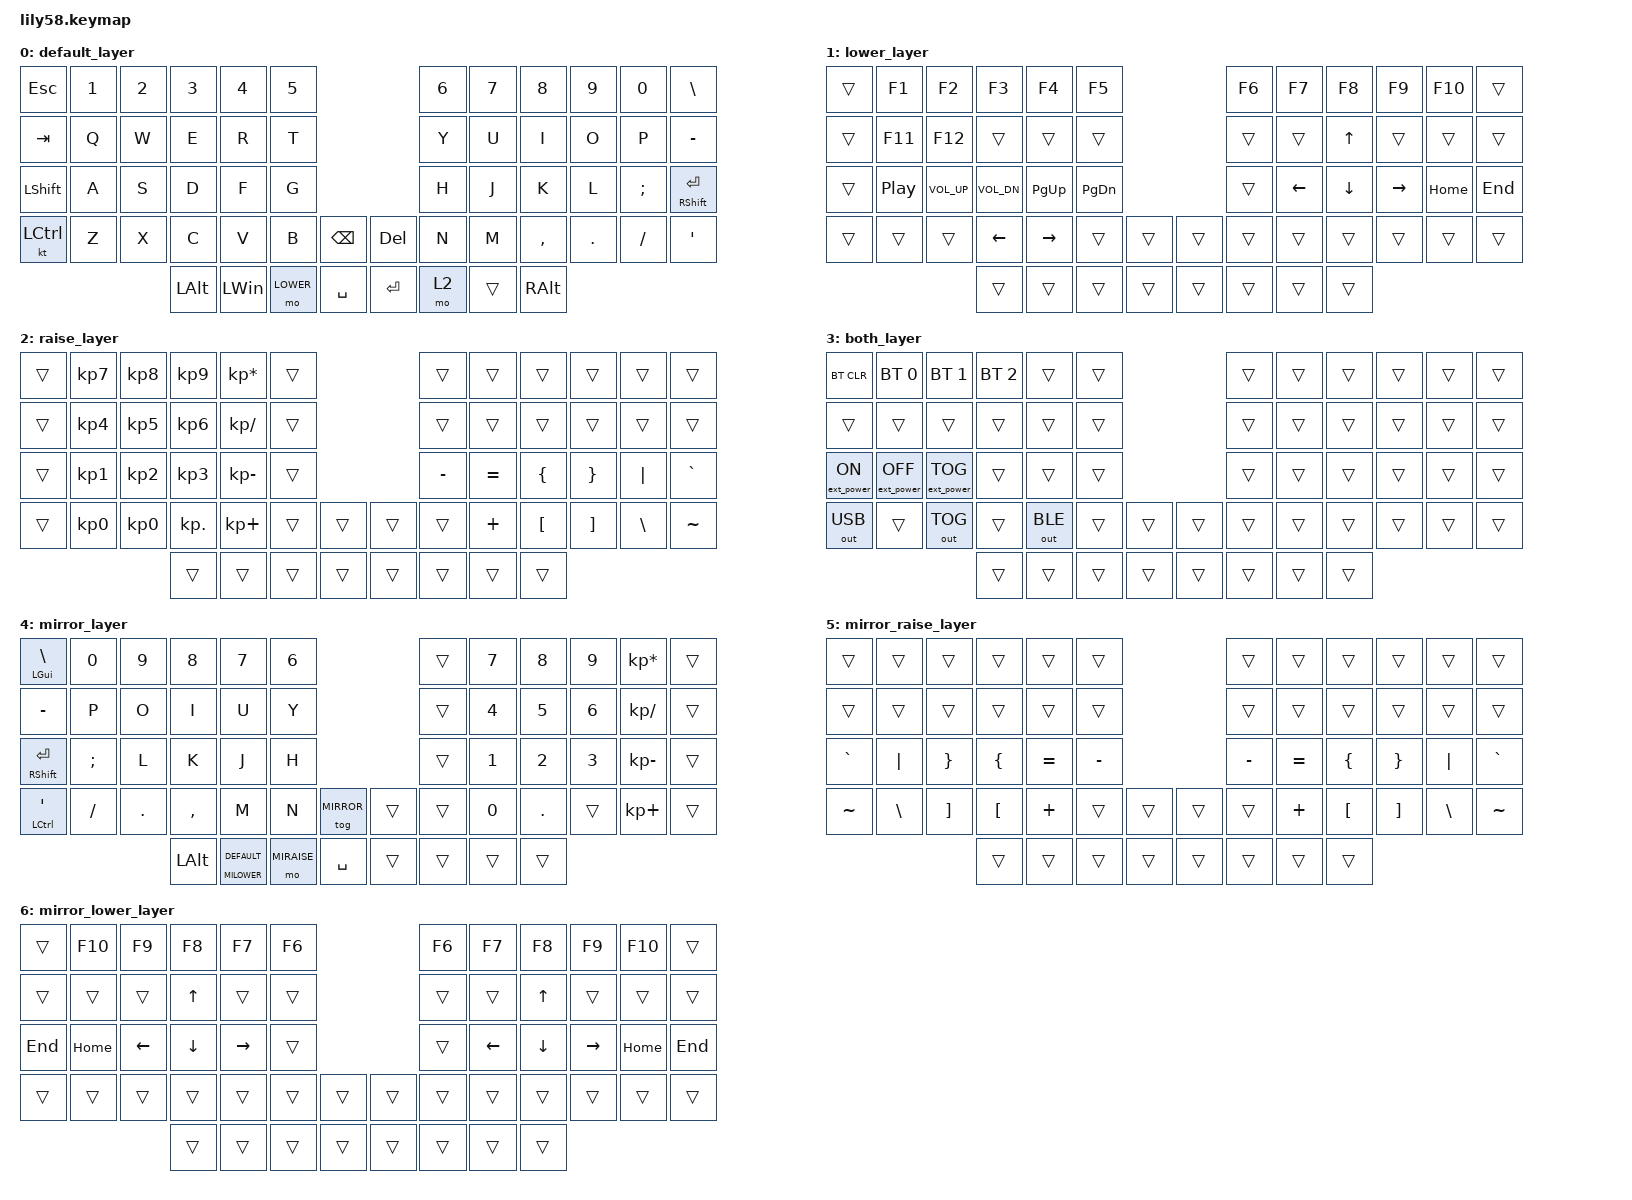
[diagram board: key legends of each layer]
/*
 * Copyright (c) 2020 The ZMK Contributors
 *
 * SPDX-License-Identifier: MIT
 */

#include <behaviors.dtsi>
#include <dt-bindings/zmk/bt.h>
#include <dt-bindings/zmk/ext_power.h>
#include <dt-bindings/zmk/keys.h>
#include <dt-bindings/zmk/keys.h>
#include <dt-bindings/zmk/outputs.h>

#define DEFAULT  0
#define LOWER    1
#define RAISE    2
#define BOTH     3
#define MIRROR   4
#define MIRAISE   5
#define MILOWER   6

#define MO_TO(layer) &mo_to layer layer   // Macro to apply momentary-layer-on-hold/to-layer-on-tap to a specific layer

/ {
    conditional_layers {
        compatible = "zmk,conditional-layers";

        tri_layer {
            if-layers = <1 2>;
            then-layer = <3>;
        };
    };
};

&mt { tapping-term-ms = <130>; };

/ {
    behaviors {
        mo_to: behavior_mo_to {
            compatible = "zmk,behavior-hold-tap";
            label = "mo_to";
            #binding-cells = <2>;
            flavor = "hold-preferred";
            tapping-term-ms = <200>;
            bindings = <&mo>, <&to>;
        };
    };

    keymap {
        compatible = "zmk,keymap";

        default_layer {
            bindings = <
&kp ESCAPE        &kp N1  &kp N2  &kp N3    &kp N4        &kp N5                                  &kp N6  &kp N7  &kp N8     &kp N9   &kp N0    &kp BSLH
&kp TAB           &kp Q   &kp W   &kp E     &kp R         &kp T                                   &kp Y   &kp U   &kp I      &kp O    &kp P     &kp MINUS
&kp LEFT_SHIFT    &kp A   &kp S   &kp D     &kp F         &kp G                                   &kp H   &kp J   &kp K      &kp L    &kp SEMI  &mt RSHIFT ENTER
&kt LEFT_CONTROL  &kp Z   &kp X   &kp C     &kp V         &kp B      &kp BACKSPACE    &kp DELETE  &kp N   &kp M   &kp COMMA  &kp DOT  &kp FSLH  &kp SQT
                                  &kp LALT  &kp LEFT_WIN  &mo LOWER  &kp SPACE        &kp ENTER   &mo 2   &trans  &kp RALT
            >;
        };

        lower_layer {
            bindings = <
&trans  &kp F1    &kp F2        &kp F3        &kp F4     &kp F5                       &kp F6  &kp F7    &kp F8    &kp F9     &kp F10   &trans
&trans  &kp F11   &kp F12       &trans        &trans     &trans                       &trans  &trans    &kp UP    &trans     &trans    &trans
&trans  &kp C_PP  &kp C_VOL_UP  &kp C_VOL_DN  &kp PG_UP  &kp PG_DN                    &trans  &kp LEFT  &kp DOWN  &kp RIGHT  &kp HOME  &kp END
&trans  &trans    &trans        &kp LEFT      &kp RIGHT  &trans     &trans    &trans  &trans  &trans    &trans    &trans     &trans    &trans
                                &trans        &trans     &trans     &trans    &trans  &trans  &trans    &trans
            >;
        };

        raise_layer {
            bindings = <
&trans  &kp KP_N7  &kp KP_N8  &kp KP_N9   &kp KP_ASTERISK  &trans                    &trans     &trans     &trans            &trans             &trans    &trans
&trans  &kp KP_N4  &kp KP_N5  &kp KP_N6   &kp KP_SLASH     &trans                    &trans     &trans     &trans            &trans             &trans    &trans
&trans  &kp KP_N1  &kp KP_N2  &kp KP_N3   &kp KP_MINUS     &trans                    &kp MINUS  &kp EQUAL  &kp LEFT_BRACE    &kp RIGHT_BRACE    &kp PIPE  &kp GRAVE
&trans  &kp KP_N0  &kp KP_N0  &kp KP_DOT  &kp KP_PLUS      &trans  &trans    &trans  &trans     &kp PLUS   &kp LEFT_BRACKET  &kp RIGHT_BRACKET  &kp BSLH  &kp TILDE
                              &trans      &trans           &trans  &trans    &trans  &trans     &trans     &trans
            >;
        };

        both_layer {
            bindings = <
&bt BT_CLR        &bt BT_SEL 0       &bt BT_SEL 1       &bt BT_SEL 2  &trans        &trans                    &trans  &trans  &trans  &trans  &trans  &trans
&trans            &trans             &trans             &trans        &trans        &trans                    &trans  &trans  &trans  &trans  &trans  &trans
&ext_power EP_ON  &ext_power EP_OFF  &ext_power EP_TOG  &trans        &trans        &trans                    &trans  &trans  &trans  &trans  &trans  &trans
&out OUT_USB      &trans             &out OUT_TOG       &trans        &out OUT_BLE  &trans  &trans    &trans  &trans  &trans  &trans  &trans  &trans  &trans
                                                        &trans        &trans        &trans  &trans    &trans  &trans  &trans  &trans
            >;
        };

        mirror_layer {
            bindings = <
&mt LGUI BSLH     &kp N0    &kp N9   &kp N8     &kp N7                  &kp N6                              &trans  &kp N7  &kp N8   &kp N9  &kp KP_ASTERISK  &trans
&kp MINUS         &kp P     &kp O    &kp I      &kp U                   &kp Y                               &trans  &kp N4  &kp N5   &kp N6  &kp KP_SLASH     &trans
&mt RSHIFT ENTER  &kp SEMI  &kp L    &kp K      &kp J                   &kp H                               &trans  &kp N1  &kp N2   &kp N3  &kp KP_MINUS     &trans
&mt LCTRL SQT     &kp FSLH  &kp DOT  &kp COMMA  &kp M                   &kp N        &tog MIRROR    &trans  &trans  &kp N0  &kp DOT  &trans  &kp KP_PLUS      &trans
                                     &kp LALT   &mo_to MILOWER DEFAULT  &mo MIRAISE  &kp SPACE      &trans  &trans  &trans  &trans
            >;
        };

        mirror_raise_layer {
            bindings = <
&trans     &trans    &trans             &trans            &trans     &trans                       &trans     &trans     &trans            &trans             &trans    &trans
&trans     &trans    &trans             &trans            &trans     &trans                       &trans     &trans     &trans            &trans             &trans    &trans
&kp GRAVE  &kp PIPE  &kp RIGHT_BRACE    &kp LEFT_BRACE    &kp EQUAL  &kp MINUS                    &kp MINUS  &kp EQUAL  &kp LEFT_BRACE    &kp RIGHT_BRACE    &kp PIPE  &kp GRAVE
&kp TILDE  &kp BSLH  &kp RIGHT_BRACKET  &kp LEFT_BRACKET  &kp PLUS   &trans     &trans    &trans  &trans     &kp PLUS   &kp LEFT_BRACKET  &kp RIGHT_BRACKET  &kp BSLH  &kp TILDE
                                        &trans            &trans     &trans     &trans    &trans  &trans     &trans     &trans
            >;
        };

        mirror_lower_layer {
            bindings = <
&trans   &kp F10   &kp F9    &kp F8    &kp F7     &kp F6                    &kp F6  &kp F7    &kp F8    &kp F9     &kp F10   &trans
&trans   &trans    &trans    &kp UP    &trans     &trans                    &trans  &trans    &kp UP    &trans     &trans    &trans
&kp END  &kp HOME  &kp LEFT  &kp DOWN  &kp RIGHT  &trans                    &trans  &kp LEFT  &kp DOWN  &kp RIGHT  &kp HOME  &kp END
&trans   &trans    &trans    &trans    &trans     &trans  &trans    &trans  &trans  &trans    &trans    &trans     &trans    &trans
                             &trans    &trans     &trans  &trans    &trans  &trans  &trans    &trans
            >;
        };
    };
};
